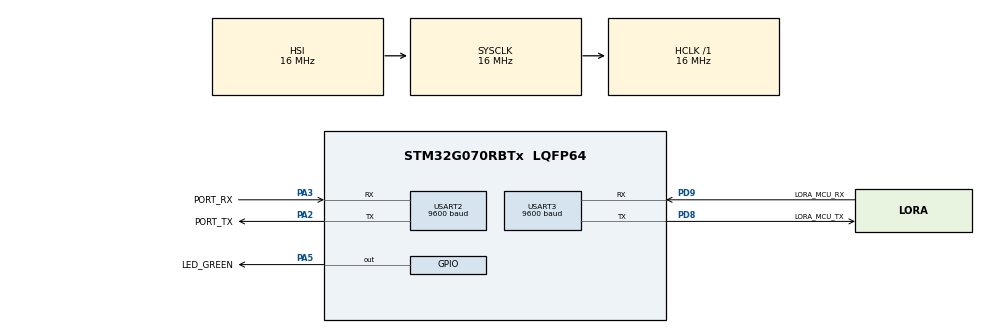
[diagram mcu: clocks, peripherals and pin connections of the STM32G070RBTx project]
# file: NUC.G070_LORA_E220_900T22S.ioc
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Mcu.Family=STM32G0
Mcu.Name=STM32G070RBTx
Mcu.Package=LQFP64
NVIC.USART3_4_IRQn=true\:0\:0\:false\:false\:true\:true\:true\:true
PA13.GPIO_Label=TMS
PA13.Mode=Serial_Wire
PA13.Signal=SYS_SWDIO
PA14-BOOT0.GPIO_Label=TCK
PA14-BOOT0.Mode=Serial_Wire
PA14-BOOT0.Signal=SYS_SWCLK
PA2.GPIO_Label=PORT_TX
PA2.GPIO_PuPd=GPIO_PULLUP
PA2.Mode=Asynchronous
PA2.Signal=USART2_TX
PA3.GPIO_Label=PORT_RX
PA3.GPIO_PuPd=GPIO_PULLUP
PA3.Mode=Asynchronous
PA3.Signal=USART2_RX
PA5.GPIO_Label=LED_GREEN
PA5.GPIO_Speed=GPIO_SPEED_FREQ_HIGH
PA5.Signal=GPIO_Output
PC13.Mode=SYS_WakeUp1
PC13.Signal=SYS_WKUP2
PC14-OSC32_IN\ (PC14).Mode=LSE-External-Oscillator
PC14-OSC32_IN\ (PC14).Signal=RCC_OSC32_IN
PC15-OSC32_OUT\ (PC15).Mode=LSE-External-Oscillator
PC15-OSC32_OUT\ (PC15).Signal=RCC_OSC32_OUT
PD8.GPIO_Label=LORA_MCU_TX
PD8.Mode=Asynchronous
PD8.Signal=USART3_TX
PD9.GPIO_Label=LORA_MCU_RX
PD9.Mode=Asynchronous
PD9.Signal=USART3_RX
PF0-OSC_IN\ (PF0).GPIO_Label=MCO
PF0-OSC_IN\ (PF0).Mode=HSE-External-Clock-Source
PF0-OSC_IN\ (PF0).Signal=RCC_OSC_IN
ProjectManager.HeapSize=0x200
ProjectManager.StackSize=0x400
ProjectManager.TargetToolchain=STM32CubeIDE
RCC.AHBFreq_Value=16000000
RCC.CortexFreq_Value=16000000
RCC.EXTERNAL_CLOCK_VALUE=12288000
RCC.HCLKFreq_Value=16000000
RCC.HSE_VALUE=8000000
RCC.HSI_VALUE=16000000
RCC.SYSCLKFreq_VALUE=16000000
RCC.VCOOutputFreq_Value=128000000
USART2.BaudRate=9600
USART2.VirtualMode-Asynchronous=VM_ASYNC
USART2.WordLength=WORDLENGTH_7B
USART3.BaudRate=9600
USART3.VirtualMode-Asynchronous=VM_ASYNC
USART3.WordLength=WORDLENGTH_8B
board=NUCLEO-G070RB

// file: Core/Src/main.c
/* USER CODE BEGIN Header */
/**
  ******************************************************************************
  * @file           : main.c
  * @brief          : Main program body
  ******************************************************************************
  * @attention
  *
  * Copyright (c) 2023 STMicroelectronics.
  * All rights reserved.
  *
  * This software is licensed under terms that can be found in the LICENSE file
  * in the root directory of this software component.
  * If no LICENSE file comes with this software, it is provided AS-IS.
  *
  ******************************************************************************
  */
/* USER CODE END Header */
#include "main.h"
#include "usart.h"
#include "gpio.h"

/* USER CODE BEGIN Includes */
#include "string.h"
#include "stdio.h"

/* USER CODE END Includes */

/* USER CODE BEGIN PD */
#define LORA_BUFF_LENGTH 200
//double a[100000];
/* USER CODE END PD */

/* USER CODE BEGIN PV */
char Lora_Sending_Buffer[LORA_BUFF_LENGTH]={'\0'};
char Lora_Adress[4]={'\0'};
uint8_t Lora_Receive_Buffer[LORA_BUFF_LENGTH]={'\0'};
/* USER CODE END PV */

void SystemClock_Config(void);
/* USER CODE BEGIN PFP */
void HAL_UART_RxCpltCallback(UART_HandleTypeDef *huart)
{
	HAL_UART_Receive(&huart3, &Lora_Receive_Buffer[1], 138, HAL_MAX_DELAY);
	  HAL_UART_Receive_IT(&huart3, Lora_Receive_Buffer, 1);

}
/* USER CODE END PFP */

int main(void)
{

  /* MCU Configuration--------------------------------------------------------*/

  /* Reset of all peripherals, Initializes the Flash interface and the Systick. */
  HAL_Init();

  /* Configure the system clock */
  SystemClock_Config();

  /* Initialize all configured peripherals */
  MX_GPIO_Init();
  MX_USART2_UART_Init();
  MX_USART3_UART_Init();
  /* USER CODE BEGIN 2 */
  HAL_UART_Receive_IT(&huart3, Lora_Receive_Buffer, 1);
  /* USER CODE END 2 */

  /* Infinite loop */
  /* USER CODE BEGIN WHILE */
  while (1)
  {
	  /*
	   * HEDEF LORA ADRESİ DECİMAL ADRESS 6228
	   * CHANNEL DECİMAL 17
	   * */
	Lora_Adress[0]=(char) 0x18; //dummy byte sprintf null karakterine
								//kadar yazar bu yüzden ilk elemen null olmamalı
	Lora_Adress[1]=(char) 0x66;// Target Adress
	Lora_Adress[2]=(char) 0x13;// Target Channel
	Lora_Adress[3]='\0';	   // sprintf null karaktere kadar yazar
	sprintf(Lora_Sending_Buffer, "%sMERHABA LORA\n", Lora_Adress);
	HAL_UART_Transmit(&huart3, (uint8_t*)Lora_Sending_Buffer, strlen(Lora_Sending_Buffer) ,250);
	HAL_Delay(500);
	memset(Lora_Sending_Buffer, '\0', LORA_BUFF_LENGTH);
	HAL_UART_Receive(&huart3, Lora_Receive_Buffer, 200, 200);
    /* USER CODE END WHILE */

  }
}

void SystemClock_Config(void)
{
  RCC_OscInitTypeDef RCC_OscInitStruct = {0};
  RCC_ClkInitTypeDef RCC_ClkInitStruct = {0};

  /** Configure the main internal regulator output voltage
  */
  HAL_PWREx_ControlVoltageScaling(PWR_REGULATOR_VOLTAGE_SCALE1);

  /** Initializes the RCC Oscillators according to the specified parameters
  * in the RCC_OscInitTypeDef structure.
  */
  RCC_OscInitStruct.OscillatorType = RCC_OSCILLATORTYPE_HSI;
  RCC_OscInitStruct.HSIState = RCC_HSI_ON;
  RCC_OscInitStruct.HSIDiv = RCC_HSI_DIV1;
  RCC_OscInitStruct.HSICalibrationValue = RCC_HSICALIBRATION_DEFAULT;
  RCC_OscInitStruct.PLL.PLLState = RCC_PLL_NONE;
  if (HAL_RCC_OscConfig(&RCC_OscInitStruct) != HAL_OK)
  {
    Error_Handler();
  }

  /** Initializes the CPU, AHB and APB buses clocks
  */
  RCC_ClkInitStruct.ClockType = RCC_CLOCKTYPE_HCLK|RCC_CLOCKTYPE_SYSCLK
                              |RCC_CLOCKTYPE_PCLK1;
  RCC_ClkInitStruct.SYSCLKSource = RCC_SYSCLKSOURCE_HSI;
  RCC_ClkInitStruct.AHBCLKDivider = RCC_SYSCLK_DIV1;
  RCC_ClkInitStruct.APB1CLKDivider = RCC_HCLK_DIV1;

  if (HAL_RCC_ClockConfig(&RCC_ClkInitStruct, FLASH_LATENCY_0) != HAL_OK)
  {
    Error_Handler();
  }
}

void Error_Handler(void)
{
  __disable_irq();
  while (1)
  {
  }
}
